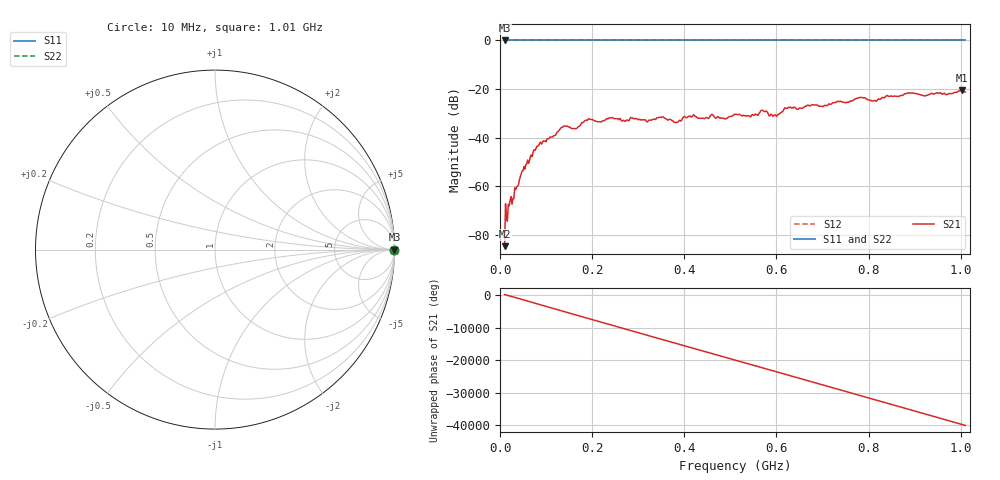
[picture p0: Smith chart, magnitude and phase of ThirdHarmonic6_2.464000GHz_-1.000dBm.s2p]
! 8/17/2025 4:29:25 AM
! C:\ANRITSUVNA\TEMP\TEMP.S2P
! CHANNEL.1
! TR.MEASUREMENT
! RAW.DATA
! RF.CORRECTION.OFF
! AVERAGING.OFF
! IF.BANDWIDTH: 5KHZ
! SWEEPTYPE:  FREQ.SWEEP(Linear)
! Reference Plane Port Info
! PORT:  PORT1  PORT2
! DISTANCE:  0  m  0  m
! TIME:  0  s  0  s
! PHASE.OFFSET:  0  deg.  0  deg.
! LOSS:  0  dB  0  dB
! REF.LOSS:  0  dB  0  dB
! REF.FREQ:  0  Hz  0  Hz
! Power Info
! POWER:  -20  dBm  -20  dBm
! EFF.POWER:  -20  dBm  -20  dBm
! SOURCE.ATTEN:  0  dB  0  dB
! TEST.ATTEN:  0  dB  0  dB
# GHZ S RI R 50.0
! FREQ.GHZ  S11RE  S11IM  S21RE  S21IM  S12RE  S12IM  S22RE  S22IM
!; PortSelection: Port_12
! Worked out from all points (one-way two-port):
!   501 points, 10 MHz to 1.01 GHz, reference 50 ohm
!   highest |S21| = -20.53 dB at 1.002 GHz (marker M1); lowest = -84.7 dB at 10 MHz (marker M2)
!   lowest |S11| = 0.0 dB at 10 MHz (marker M3)
!   |S11| at or under -10 dB: nowhere
!   |S22| runs from 0.0 to 0.0 dB; largest |S21 - S12| = 1.1
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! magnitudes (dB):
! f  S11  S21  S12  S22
! 10 MHz  0.0  -84.7  0.0  0.0
! 16 MHz  0.0  -74.4  0.0  0.0
! 48 MHz  0.0  -53.8  0.0  0.0
! 76 MHz  0.0  -45.3  0.0  0.0
! 136 MHz  0.0  -35.7  0.0  0.0
! 162 MHz  0.0  -36.2  0.0  0.0
! 178 MHz  0.0  -33.7  0.0  0.0
! 196 MHz  0.0  -32.5  0.0  0.0
! 344 MHz  0.0  -31.8  0.0  0.0
! 382 MHz  0.0  -33.8  0.0  0.0
! 416 MHz  0.0  -31.5  0.0  0.0
! 488 MHz  0.0  -32.4  0.0  0.0
! 510 MHz  0.0  -30.5  0.0  0.0
! 540 MHz  0.0  -31.0  0.0  0.0
! 570 MHz  0.0  -28.8  0.0  0.0
! 596 MHz  0.0  -30.7  0.0  0.0
! 622 MHz  0.0  -28.0  0.0  0.0
! 678 MHz  0.0  -26.4  0.0  0.0
! 814 MHz  0.0  -24.7  0.0  0.0
! 844 MHz  0.0  -23.1  0.0  0.0
! 1.002 GHz  0.0  -20.5  0.0  0.0
! 1.01 GHz  0.0  -21.2  0.0  0.0
